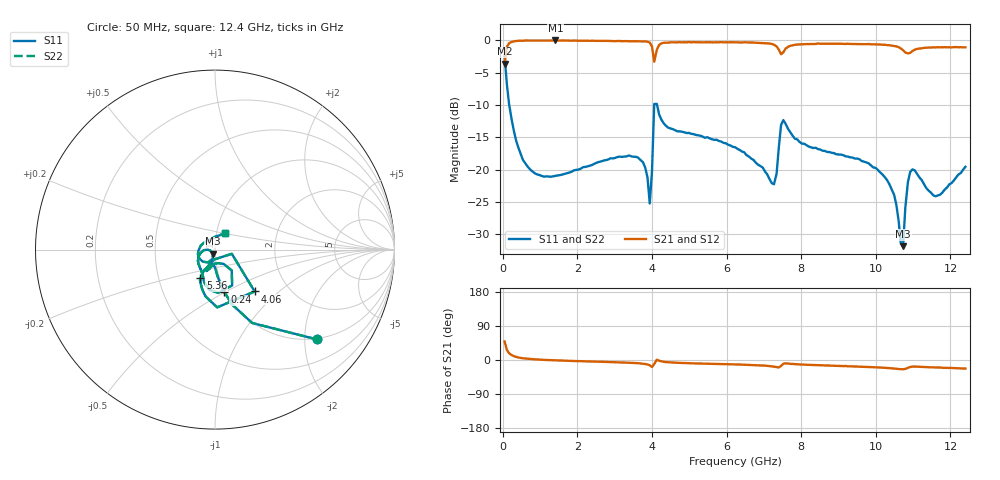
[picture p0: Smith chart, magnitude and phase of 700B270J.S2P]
!  American Technical Ceramics  Date:  3/13/98
!  One Norden Lane
!  Huntington Station,  NY.  11746-2102
!  Tel:  (516) 547-5700  Fax:  (516) 547-5748
!  Part Number  700B270J
!  Description: Porcelain, High Q, Low ESR
!  Application: Bypass, Coupling, Timing, Feedback
!  Tuning, Impedance Match, Blocking
# GHZ S DB R 50
! Freq  |S11|  S11 Ph  |S21|  S21 Ph  |S12|  S12 Ph  |S22|  S22 Ph
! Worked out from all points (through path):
!   201 points, 50 MHz to 12.4 GHz, reference 50 ohm
!   highest |S21| = -0.04 dB at 1.41 GHz (marker M1); lowest = -3.6 dB at 50 MHz (marker M2)
!   group delay of S21, straight-line fit = 6.21 ps
!   lowest |S11| = -31.8 dB at 10.73 GHz (marker M3), VSWR 1.05, Z = 48.7 - j2.18 ohm
!   |S11| at or under -10 dB: 172.9 MHz to 4.059 GHz (3.886 GHz wide, 184 % of centre); 4.136 GHz to end of sweep
!   |S22| runs from -31.8 to -2.4 dB; largest |S21 - S12| = 0
!   S11 on the Smith chart (normalised r, x): 50 MHz: 0.97, -2.30; 240 MHz: 0.99, -0.50; 4.06 GHz: 1.36, -0.71; 5.36 GHz: 0.81, -0.27; 12.4 GHz: 1.10, +0.20
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0.05  -2.40 -41.3  -3.63 49.0  -3.63 49.0  -2.40 -41.3
0.11  -6.78 -63.2  -1.04 26.6  -1.04 26.6  -6.78 -63.2
0.24  -12.30 -77.6  -0.27 13.1  -0.27 13.1  -12.30 -77.6
0.67  -19.56 -89.1  -0.06 3.3  -0.06 3.3  -19.56 -89.1
1.41  -20.98 -98.2  -0.04 -0.9  -0.04 -0.9  -20.98 -98.2
2.15  -19.64 -104.8  -0.08 -3.2  -0.08 -3.2  -19.64 -104.8
3.63  -18.16 -113.1  -0.17 -8.4  -0.17 -8.4  -18.16 -113.1
3.82  -19.72 -113.0  -0.18 -10.6  -0.18 -10.6  -19.72 -113.0
3.94  -25.25 -93.5  -0.37 -14.0  -0.37 -14.0  -25.25 -93.5
4  -20.30 -14.1  -0.98 -18.5  -0.98 -18.5  -20.30 -14.1
4.06  -9.86 -46.5  -3.33 -10.7  -3.33 -10.7  -9.86 -46.5
4.19  -11.46 -101.1  -0.74 -1.9  -0.74 -1.9  -11.46 -101.1
5.36  -14.91 -117.2  -0.33 -9.5  -0.33 -9.5  -14.91 -117.2
6.23  -16.55 -117.1  -0.33 -11.7  -0.33 -11.7  -16.55 -117.1
7.27  -22.27 -77.5  -0.70 -17.8  -0.70 -17.8  -22.27 -77.5
7.52  -12.35 -85.9  -1.87 -9.8  -1.87 -9.8  -12.35 -85.9
8.32  -16.66 -119.0  -0.59 -13.2  -0.59 -13.2  -16.66 -119.0
10.36  -22.23 -169.2  -0.78 -21.6  -0.78 -21.6  -22.23 -169.2
10.73  -31.84 -119.0  -1.56 -24.4  -1.56 -24.4  -31.84 -119.0
10.92  -20.38 -135.2  -1.96 -18.6  -1.96 -18.6  -20.38 -135.2
11.6  -24.13 117.3  -1.12 -19.5  -1.12 -19.5  -24.13 117.3
12.4  -19.58 59.0  -1.10 -22.5  -1.10 -22.5  -19.58 59.0
